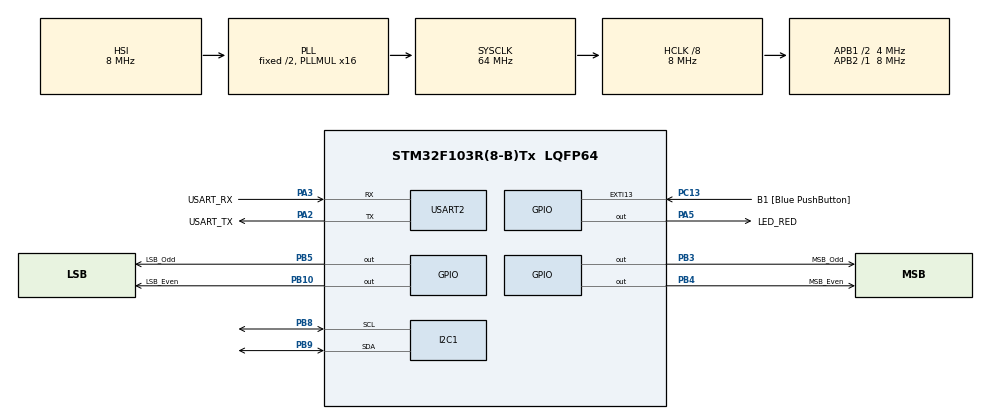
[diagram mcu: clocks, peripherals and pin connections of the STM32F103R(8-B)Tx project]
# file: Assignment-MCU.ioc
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Mcu.Family=STM32F1
Mcu.Name=STM32F103R(8-B)Tx
Mcu.Package=LQFP64
NVIC.EXTI15_10_IRQn=true\:0\:0\:false\:false\:true\:true\:true
NVIC.PriorityGroup=NVIC_PRIORITYGROUP_4
NVIC.TIM2_IRQn=true\:0\:0\:false\:false\:true\:true\:true
NVIC.USART2_IRQn=true\:0\:0\:false\:false\:true\:true\:true
PA13.GPIO_Label=TMS
PA13.Mode=Serial_Wire
PA13.Signal=SYS_JTMS-SWDIO
PA14.GPIO_Label=TCK
PA14.Mode=Serial_Wire
PA14.Signal=SYS_JTCK-SWCLK
PA2.GPIO_Label=USART_TX
PA2.GPIO_Mode=GPIO_MODE_AF_PP
PA2.GPIO_PuPd=GPIO_NOPULL
PA2.GPIO_Speed=GPIO_SPEED_FREQ_LOW
PA2.Mode=Asynchronous
PA2.Signal=USART2_TX
PA3.GPIO_Label=USART_RX
PA3.GPIO_Mode=GPIO_MODE_INPUT
PA3.GPIO_PuPd=GPIO_NOPULL
PA3.GPIO_Speed=GPIO_SPEED_FREQ_LOW
PA3.Mode=Asynchronous
PA3.Signal=USART2_RX
PA5.GPIO_Label=LED_RED
PA5.GPIO_ModeDefaultOutputPP=GPIO_MODE_OUTPUT_PP
PA5.GPIO_PuPd=GPIO_NOPULL
PA5.GPIO_Speed=GPIO_SPEED_FREQ_LOW
PA5.Signal=GPIO_Output
PB10.GPIO_Label=LSB_Even
PB10.Signal=GPIO_Output
PB3.GPIO_Label=MSB_Odd
PB3.Signal=GPIO_Output
PB4.GPIO_Label=MSB_Even
PB4.Signal=GPIO_Output
PB5.GPIO_Label=LSB_Odd
PB5.Signal=GPIO_Output
PB8.Mode=I2C
PB8.Signal=I2C1_SCL
PB9.Mode=I2C
PB9.Signal=I2C1_SDA
PC13-TAMPER-RTC.GPIO_Label=B1 [Blue PushButton]
PC13-TAMPER-RTC.GPIO_PuPd=GPIO_NOPULL
PC13-TAMPER-RTC.Signal=GPXTI13
PC14-OSC32_IN.Mode=LSE-External-Oscillator
PC14-OSC32_IN.Signal=RCC_OSC32_IN
PC15-OSC32_OUT.Mode=LSE-External-Oscillator
PC15-OSC32_OUT.Signal=RCC_OSC32_OUT
PD0-OSC_IN.Mode=HSE-External-Clock-Source
PD0-OSC_IN.Signal=RCC_OSC_IN
PD1-OSC_OUT.Mode=HSE-External-Clock-Source
PD1-OSC_OUT.Signal=RCC_OSC_OUT
ProjectManager.HeapSize=0x200
ProjectManager.StackSize=0x400
ProjectManager.TargetToolchain=STM32CubeIDE
RCC.AHBCLKDivider=RCC_SYSCLK_DIV8
RCC.AHBFreq_Value=8000000
RCC.APB1CLKDivider=RCC_HCLK_DIV2
RCC.APB1Freq_Value=4000000
RCC.APB1TimFreq_Value=8000000
RCC.APB2Freq_Value=8000000
RCC.APB2TimFreq_Value=8000000
RCC.HCLKFreq_Value=8000000
RCC.PLLMUL=RCC_PLL_MUL16
RCC.RTCClockSelection=RCC_RTCCLKSOURCE_LSE
RCC.SYSCLKFreq_VALUE=64000000
RCC.SYSCLKSource=RCC_SYSCLKSOURCE_PLLCLK
RCC.USBFreq_Value=64000000
TIM2.Period=9
TIM2.Prescaler=7999
USART2.VirtualMode=VM_ASYNC
VP_TIM2_VS_ClockSourceINT.Mode=Internal
board=NUCLEO-F103RB

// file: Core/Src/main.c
/* USER CODE BEGIN Header */
/**
  ******************************************************************************
  * @file           : main.c
  * @brief          : Main program body
  ******************************************************************************
  * @attention
  *
  * <h2><center>&copy; Copyright (c) 2024 STMicroelectronics.
  * All rights reserved.</center></h2>
  *
  * This software component is licensed by ST under BSD 3-Clause license,
  * the "License"; You may not use this file except in compliance with the
  * License. You may obtain a copy of the License at:
  *                        opensource.org/licenses/BSD-3-Clause
  *
  ******************************************************************************
  */
/* USER CODE END Header */
#include "main.h"

/* USER CODE BEGIN Includes */
#include "global.h"
/* USER CODE END Includes */

I2C_HandleTypeDef hi2c1;

TIM_HandleTypeDef htim2;

UART_HandleTypeDef huart2;

void SystemClock_Config(void);
static void MX_GPIO_Init(void);
static void MX_USART2_UART_Init(void);
static void MX_I2C1_Init(void);
static void MX_TIM2_Init(void);

/* USER CODE BEGIN 0 */
uint8_t temp = 0;
/* USER CODE END 0 */

int main(void)
{

  /* MCU Configuration--------------------------------------------------------*/

  /* Reset of all peripherals, Initializes the Flash interface and the Systick. */
  HAL_Init();

  /* Configure the system clock */
  SystemClock_Config();

  /* Initialize all configured peripherals */
  MX_GPIO_Init();
  MX_USART2_UART_Init();
  MX_I2C1_Init();
  MX_TIM2_Init();
  /* USER CODE BEGIN 2 */
  HAL_TIM_Base_Start_IT(&htim2);
  HAL_UART_Receive_IT (&huart2, &temp, 1);
  SCH_Init();
  lcd_init();
  /* USER CODE END 2 */

  /* Infinite loop */
  /* USER CODE BEGIN WHILE */
  SCH_Add_Task(&blink_led, 0, TICK);
  SCH_Add_Task(&timerRun, 0, TICK);
//  SCH_Add_Task(&fsm_main, 0, TICK);
  display_choose_mode();
  while (1)
  {
	SCH_Dispatch_Tasks();
//	  HAL_GPIO_TogglePin(LED_RED_GPIO_Port, LED_RED_Pin);
//	  HAL_Delay(1000);
	  fsm_main();
    /* USER CODE END WHILE */

  }
}

void SystemClock_Config(void)
{
  RCC_OscInitTypeDef RCC_OscInitStruct = {0};
  RCC_ClkInitTypeDef RCC_ClkInitStruct = {0};

  /** Initializes the RCC Oscillators according to the specified parameters
  * in the RCC_OscInitTypeDef structure.
  */
  RCC_OscInitStruct.OscillatorType = RCC_OSCILLATORTYPE_HSI;
  RCC_OscInitStruct.HSIState = RCC_HSI_ON;
  RCC_OscInitStruct.HSICalibrationValue = RCC_HSICALIBRATION_DEFAULT;
  RCC_OscInitStruct.PLL.PLLState = RCC_PLL_ON;
  RCC_OscInitStruct.PLL.PLLSource = RCC_PLLSOURCE_HSI_DIV2;
  RCC_OscInitStruct.PLL.PLLMUL = RCC_PLL_MUL16;
  if (HAL_RCC_OscConfig(&RCC_OscInitStruct) != HAL_OK)
  {
    Error_Handler();
  }
  /** Initializes the CPU, AHB and APB buses clocks
  */
  RCC_ClkInitStruct.ClockType = RCC_CLOCKTYPE_HCLK|RCC_CLOCKTYPE_SYSCLK
                              |RCC_CLOCKTYPE_PCLK1|RCC_CLOCKTYPE_PCLK2;
  RCC_ClkInitStruct.SYSCLKSource = RCC_SYSCLKSOURCE_PLLCLK;
  RCC_ClkInitStruct.AHBCLKDivider = RCC_SYSCLK_DIV8;
  RCC_ClkInitStruct.APB1CLKDivider = RCC_HCLK_DIV2;
  RCC_ClkInitStruct.APB2CLKDivider = RCC_HCLK_DIV1;

  if (HAL_RCC_ClockConfig(&RCC_ClkInitStruct, FLASH_LATENCY_2) != HAL_OK)
  {
    Error_Handler();
  }
}

static void MX_I2C1_Init(void)
{

  hi2c1.Instance = I2C1;
  hi2c1.Init.ClockSpeed = 100000;
  hi2c1.Init.DutyCycle = I2C_DUTYCYCLE_2;
  hi2c1.Init.OwnAddress1 = 0;
  hi2c1.Init.AddressingMode = I2C_ADDRESSINGMODE_7BIT;
  hi2c1.Init.DualAddressMode = I2C_DUALADDRESS_DISABLE;
  hi2c1.Init.OwnAddress2 = 0;
  hi2c1.Init.GeneralCallMode = I2C_GENERALCALL_DISABLE;
  hi2c1.Init.NoStretchMode = I2C_NOSTRETCH_DISABLE;
  if (HAL_I2C_Init(&hi2c1) != HAL_OK)
  {
    Error_Handler();
  }

}

static void MX_TIM2_Init(void)
{

  TIM_ClockConfigTypeDef sClockSourceConfig = {0};
  TIM_MasterConfigTypeDef sMasterConfig = {0};

  htim2.Instance = TIM2;
  htim2.Init.Prescaler = 7999;
  htim2.Init.CounterMode = TIM_COUNTERMODE_UP;
  htim2.Init.Period = 9;
  htim2.Init.ClockDivision = TIM_CLOCKDIVISION_DIV1;
  htim2.Init.AutoReloadPreload = TIM_AUTORELOAD_PRELOAD_DISABLE;
  if (HAL_TIM_Base_Init(&htim2) != HAL_OK)
  {
    Error_Handler();
  }
  sClockSourceConfig.ClockSource = TIM_CLOCKSOURCE_INTERNAL;
  if (HAL_TIM_ConfigClockSource(&htim2, &sClockSourceConfig) != HAL_OK)
  {
    Error_Handler();
  }
  sMasterConfig.MasterOutputTrigger = TIM_TRGO_RESET;
  sMasterConfig.MasterSlaveMode = TIM_MASTERSLAVEMODE_DISABLE;
  if (HAL_TIMEx_MasterConfigSynchronization(&htim2, &sMasterConfig) != HAL_OK)
  {
    Error_Handler();
  }

}

static void MX_USART2_UART_Init(void)
{

  huart2.Instance = USART2;
  huart2.Init.BaudRate = 115200;
  huart2.Init.WordLength = UART_WORDLENGTH_8B;
  huart2.Init.StopBits = UART_STOPBITS_1;
  huart2.Init.Parity = UART_PARITY_NONE;
  huart2.Init.Mode = UART_MODE_TX_RX;
  huart2.Init.HwFlowCtl = UART_HWCONTROL_NONE;
  huart2.Init.OverSampling = UART_OVERSAMPLING_16;
  if (HAL_UART_Init(&huart2) != HAL_OK)
  {
    Error_Handler();
  }

}

static void MX_GPIO_Init(void)
{
  GPIO_InitTypeDef GPIO_InitStruct = {0};

  /* GPIO Ports Clock Enable */
  __HAL_RCC_GPIOC_CLK_ENABLE();
  __HAL_RCC_GPIOD_CLK_ENABLE();
  __HAL_RCC_GPIOA_CLK_ENABLE();
  __HAL_RCC_GPIOB_CLK_ENABLE();

  /*Configure GPIO pin Output Level */
  HAL_GPIO_WritePin(LED_RED_GPIO_Port, LED_RED_Pin, GPIO_PIN_RESET);

  /*Configure GPIO pin Output Level */
  HAL_GPIO_WritePin(GPIOB, LSB_Even_Pin|MSB_Odd_Pin|MSB_Even_Pin|LSB_Odd_Pin, GPIO_PIN_RESET);

  /*Configure GPIO pin : B1_Pin */
  GPIO_InitStruct.Pin = B1_Pin;
  GPIO_InitStruct.Mode = GPIO_MODE_IT_RISING;
  GPIO_InitStruct.Pull = GPIO_NOPULL;
  HAL_GPIO_Init(B1_GPIO_Port, &GPIO_InitStruct);

  /*Configure GPIO pin : LED_RED_Pin */
  GPIO_InitStruct.Pin = LED_RED_Pin;
  GPIO_InitStruct.Mode = GPIO_MODE_OUTPUT_PP;
  GPIO_InitStruct.Pull = GPIO_NOPULL;
  GPIO_InitStruct.Speed = GPIO_SPEED_FREQ_LOW;
  HAL_GPIO_Init(LED_RED_GPIO_Port, &GPIO_InitStruct);

  /*Configure GPIO pins : LSB_Even_Pin MSB_Odd_Pin MSB_Even_Pin LSB_Odd_Pin */
  GPIO_InitStruct.Pin = LSB_Even_Pin|MSB_Odd_Pin|MSB_Even_Pin|LSB_Odd_Pin;
  GPIO_InitStruct.Mode = GPIO_MODE_OUTPUT_PP;
  GPIO_InitStruct.Pull = GPIO_NOPULL;
  GPIO_InitStruct.Speed = GPIO_SPEED_FREQ_LOW;
  HAL_GPIO_Init(GPIOB, &GPIO_InitStruct);

  /* EXTI interrupt init*/
  HAL_NVIC_SetPriority(EXTI15_10_IRQn, 0, 0);
  HAL_NVIC_EnableIRQ(EXTI15_10_IRQn);

}

/* USER CODE BEGIN 4 */
void HAL_TIM_PeriodElapsedCallback(TIM_HandleTypeDef *htim)
{
	SCH_Update();
}

void HAL_UART_RxCpltCallback ( UART_HandleTypeDef * huart ) {
	if( huart -> Instance == USART2 )
	{
		buffer[index_buffer++] = temp ;
		if( index_buffer >= MAX_BUFFER_SIZE)
			index_buffer = 0;
//		buffer_flag = 1;
//		printf("temp = %d", temp);
//		AUTO_MODE_flag = 1;
		HAL_UART_Receive_IT(&huart2, &temp, 1);
	}
}
/* USER CODE END 4 */

void Error_Handler(void)
{
  __disable_irq();
  while (1)
  {
  }
}

/************************ (C) COPYRIGHT STMicroelectronics *****END OF FILE****/
